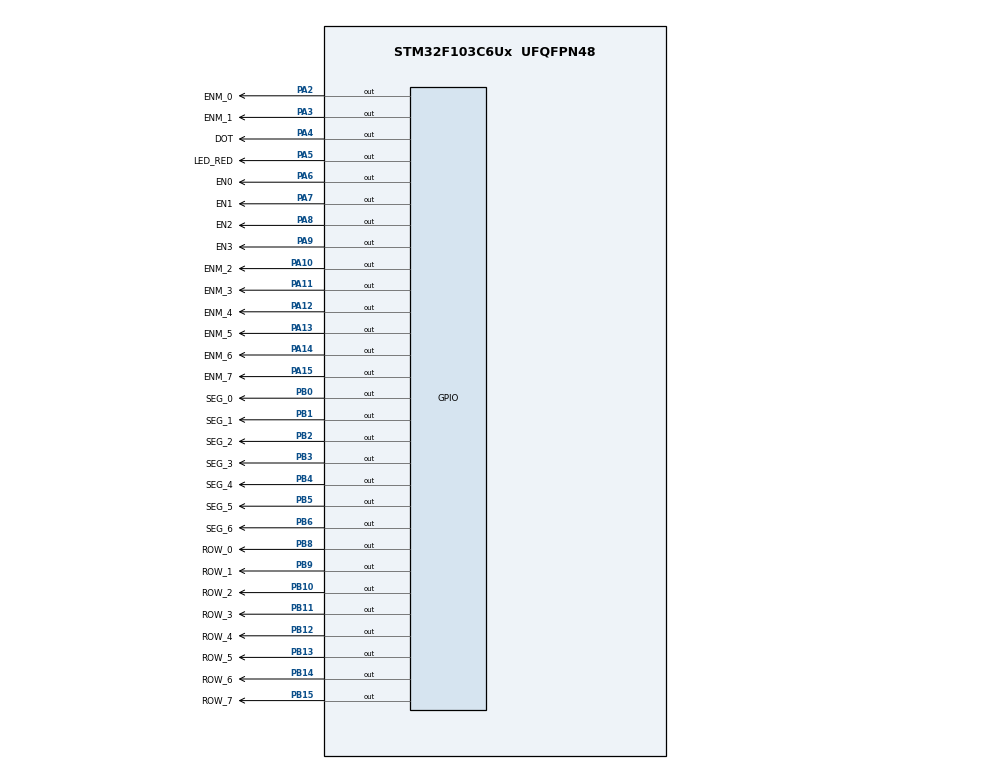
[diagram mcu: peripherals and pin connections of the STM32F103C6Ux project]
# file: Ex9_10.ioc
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Mcu.Family=STM32F1
Mcu.Name=STM32F103C6Ux
Mcu.Package=UFQFPN48
NVIC.PriorityGroup=NVIC_PRIORITYGROUP_4
NVIC.TIM2_IRQn=true\:0\:0\:false\:false\:true\:true\:true
PA10.GPIO_Label=ENM_2
PA10.Signal=GPIO_Output
PA11.GPIO_Label=ENM_3
PA11.Signal=GPIO_Output
PA12.GPIO_Label=ENM_4
PA12.Signal=GPIO_Output
PA13.GPIO_Label=ENM_5
PA13.Signal=GPIO_Output
PA14.GPIO_Label=ENM_6
PA14.Signal=GPIO_Output
PA15.GPIO_Label=ENM_7
PA15.Signal=GPIO_Output
PA2.GPIO_Label=ENM_0
PA2.Signal=GPIO_Output
PA3.GPIO_Label=ENM_1
PA3.Signal=GPIO_Output
PA4.GPIO_Label=DOT
PA4.Signal=GPIO_Output
PA5.GPIO_Label=LED_RED
PA5.Signal=GPIO_Output
PA6.GPIO_Label=EN0
PA6.Signal=GPIO_Output
PA7.GPIO_Label=EN1
PA7.Signal=GPIO_Output
PA8.GPIO_Label=EN2
PA8.Signal=GPIO_Output
PA9.GPIO_Label=EN3
PA9.Signal=GPIO_Output
PB0.GPIO_Label=SEG_0
PB0.Signal=GPIO_Output
PB1.GPIO_Label=SEG_1
PB1.Signal=GPIO_Output
PB10.GPIO_Label=ROW_2
PB10.Signal=GPIO_Output
PB11.GPIO_Label=ROW_3
PB11.Signal=GPIO_Output
PB12.GPIO_Label=ROW_4
PB12.Signal=GPIO_Output
PB13.GPIO_Label=ROW_5
PB13.Signal=GPIO_Output
PB14.GPIO_Label=ROW_6
PB14.Signal=GPIO_Output
PB15.GPIO_Label=ROW_7
PB15.Signal=GPIO_Output
PB2.GPIO_Label=SEG_2
PB2.Signal=GPIO_Output
PB3.GPIO_Label=SEG_3
PB3.Signal=GPIO_Output
PB4.GPIO_Label=SEG_4
PB4.Signal=GPIO_Output
PB5.GPIO_Label=SEG_5
PB5.Signal=GPIO_Output
PB6.GPIO_Label=SEG_6
PB6.Signal=GPIO_Output
PB8.GPIO_Label=ROW_0
PB8.Signal=GPIO_Output
PB9.GPIO_Label=ROW_1
PB9.Signal=GPIO_Output
ProjectManager.HeapSize=0x200
ProjectManager.StackSize=0x400
ProjectManager.TargetToolchain=STM32CubeIDE
RCC.APB1Freq_Value=8000000
RCC.APB2Freq_Value=8000000
TIM2.Period=9
TIM2.Prescaler=7999
VP_SYS_VS_ND.Mode=No_Debug
VP_TIM2_VS_ClockSourceINT.Mode=Internal
board=custom

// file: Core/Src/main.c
/* USER CODE BEGIN Header */
/**
  ******************************************************************************
  * @file           : main.c
  * @brief          : Main program body
  ******************************************************************************
  * @attention
  *
  * <h2><center>&copy; Copyright (c) 2024 STMicroelectronics.
  * All rights reserved.</center></h2>
  *
  * This software component is licensed by ST under BSD 3-Clause license,
  * the "License"; You may not use this file except in compliance with the
  * License. You may obtain a copy of the License at:
  *                        opensource.org/licenses/BSD-3-Clause
  *
  ******************************************************************************
  */
/* USER CODE END Header */
#include "main.h"

TIM_HandleTypeDef htim2;

void SystemClock_Config(void);
static void MX_GPIO_Init(void);
static void MX_TIM2_Init(void);

/* USER CODE BEGIN 0 */
void display7SEG();
void updateClockBuffer();
void update7SEG();
int timer0_counter = 0;
int timer0_flag = 0;
int timer1_counter = 0;
int timer1_flag = 0;
int timer2_counter = 0;
int timer2_flag = 0;
int timer3_counter = 0;
int timer3_flag = 0;
int TIMER_CYCLE = 10;

//-- setTimer0 is used for the blinking Red LED --//
void setTimer0 (int duration)
{
	timer0_counter = duration / TIMER_CYCLE;
	timer0_flag = 0;
}

//-- setTimer1 is used for the Blinking DOT and Time Value Updating --//
void setTimer1 (int duration)
{
	timer1_counter = duration / TIMER_CYCLE;
	timer1_flag = 0;
}

//-- setTimer2 is used for updating the 7SEG --//
void setTimer2 (int duration)
{
	timer2_counter = duration / TIMER_CYCLE;
	timer2_flag = 0;
}

//-- setTimer3 is used for updating the 8x8 matrix LED --//
void setTimer3 (int duration)
{
	timer3_counter = duration / TIMER_CYCLE;
	timer3_flag = 0;
}

void timer_run()
{
	if (timer0_counter > 0)
	{
		timer0_counter--;
		if (timer0_counter <= 0)
		{
			timer0_flag = 1;
		}
	}
	if (timer1_counter > 0)
	{
		timer1_counter--;
		if (timer1_counter <= 0)
		{
			timer1_flag = 1;
		}
	}
	if (timer2_counter > 0)
	{
		timer2_counter--;
		if (timer2_counter <= 0)
		{
			timer2_flag = 1;
		}
	}
	if (timer3_counter > 0)
	{
		timer3_counter--;
		if (timer3_counter <= 0)
		{
			timer3_flag = 1;
		}
	}
}

/* USER CODE END 0 */

int main(void)
{
  /* USER CODE BEGIN 1 */
//	const int MAX_LED_MATRIX = 8;
	int index_led_matrix = 0;
	uint8_t matrix_buffer[8] = {0x00, 0xFC, 0xFE, 0x33, 0x33, 0xFE, 0xFC, 0x00};
	void updateLEDMatrix(int index)
	{
		switch(index)
		{
		case 0:
			HAL_GPIO_WritePin(ENM_0_GPIO_Port, ENM_0_Pin, GPIO_PIN_RESET);
			HAL_GPIO_WritePin(GPIOA, ENM_1_Pin|ENM_2_Pin|ENM_3_Pin|ENM_4_Pin|ENM_5_Pin|ENM_6_Pin|ENM_7_Pin, GPIO_PIN_SET);
			HAL_GPIO_WritePin(GPIOB, 0xff<<8, GPIO_PIN_SET);
			HAL_GPIO_WritePin(GPIOB, matrix_buffer[index]<<8, GPIO_PIN_RESET);
			break;
		case 1:
			HAL_GPIO_WritePin(ENM_1_GPIO_Port, ENM_1_Pin, GPIO_PIN_RESET);
			HAL_GPIO_WritePin(GPIOA, ENM_0_Pin|ENM_2_Pin|ENM_3_Pin|ENM_4_Pin|ENM_5_Pin|ENM_6_Pin|ENM_7_Pin, GPIO_PIN_SET);
			HAL_GPIO_WritePin(GPIOB, 0xff<<8, GPIO_PIN_SET);
			HAL_GPIO_WritePin(GPIOB, matrix_buffer[index]<<8, GPIO_PIN_RESET);
			break;
		case 2:
			HAL_GPIO_WritePin(ENM_2_GPIO_Port, ENM_2_Pin, GPIO_PIN_RESET);
			HAL_GPIO_WritePin(GPIOA, ENM_0_Pin|ENM_1_Pin|ENM_3_Pin|ENM_4_Pin|ENM_5_Pin|ENM_6_Pin|ENM_7_Pin, GPIO_PIN_SET);
			HAL_GPIO_WritePin(GPIOB, 0xff<<8, GPIO_PIN_SET);
			HAL_GPIO_WritePin(GPIOB, matrix_buffer[index]<<8, GPIO_PIN_RESET);
			break;
		case 3:
			HAL_GPIO_WritePin(ENM_3_GPIO_Port, ENM_3_Pin, GPIO_PIN_RESET);
			HAL_GPIO_WritePin(GPIOA, ENM_0_Pin|ENM_1_Pin|ENM_2_Pin|ENM_4_Pin|ENM_5_Pin|ENM_6_Pin|ENM_7_Pin, GPIO_PIN_SET);
			HAL_GPIO_WritePin(GPIOB, 0xff<<8, GPIO_PIN_SET);
			HAL_GPIO_WritePin(GPIOB, matrix_buffer[index]<<8, GPIO_PIN_RESET);
			break;
		case 4:
			HAL_GPIO_WritePin(ENM_4_GPIO_Port, ENM_4_Pin, GPIO_PIN_RESET);
			HAL_GPIO_WritePin(GPIOA, ENM_0_Pin|ENM_1_Pin|ENM_2_Pin|ENM_3_Pin|ENM_5_Pin|ENM_6_Pin|ENM_7_Pin, GPIO_PIN_SET);
			HAL_GPIO_WritePin(GPIOB, 0xff<<8, GPIO_PIN_SET);
			HAL_GPIO_WritePin(GPIOB, matrix_buffer[index]<<8, GPIO_PIN_RESET);
			break;
		case 5:
			HAL_GPIO_WritePin(ENM_5_GPIO_Port, ENM_5_Pin, GPIO_PIN_RESET);
			HAL_GPIO_WritePin(GPIOA, ENM_0_Pin|ENM_1_Pin|ENM_2_Pin|ENM_3_Pin|ENM_4_Pin|ENM_6_Pin|ENM_7_Pin, GPIO_PIN_SET);
			HAL_GPIO_WritePin(GPIOB, 0xff<<8, GPIO_PIN_SET);
			HAL_GPIO_WritePin(GPIOB, matrix_buffer[index]<<8, GPIO_PIN_RESET);
			break;
		case 6:
			HAL_GPIO_WritePin(ENM_6_GPIO_Port, ENM_6_Pin, GPIO_PIN_RESET);
			HAL_GPIO_WritePin(GPIOA, ENM_0_Pin|ENM_1_Pin|ENM_2_Pin|ENM_3_Pin|ENM_4_Pin|ENM_5_Pin|ENM_7_Pin, GPIO_PIN_SET);
			HAL_GPIO_WritePin(GPIOB, 0xff<<8, GPIO_PIN_SET);
			HAL_GPIO_WritePin(GPIOB, matrix_buffer[index]<<8, GPIO_PIN_RESET);
			break;
		case 7:
			HAL_GPIO_WritePin(ENM_7_GPIO_Port, ENM_7_Pin, GPIO_PIN_RESET);
			HAL_GPIO_WritePin(GPIOA, ENM_0_Pin|ENM_1_Pin|ENM_2_Pin|ENM_3_Pin|ENM_4_Pin|ENM_5_Pin|ENM_6_Pin, GPIO_PIN_SET);
			HAL_GPIO_WritePin(GPIOB, 0xff<<8, GPIO_PIN_SET);
			HAL_GPIO_WritePin(GPIOB, matrix_buffer[index]<<8, GPIO_PIN_RESET);
			break;
		default:
			break;
		}
	}

	// Create function to shift every array to the left by 1 column
	void shift_matrix_buffer()
	{
		uint8_t tmp;  // Create 8-bit tmp to store the array
		uint8_t i;	// Create 8-bit i to store the arry
		for(i = 0; i < 8; i++)
		{
			tmp = matrix_buffer[i];	// Store the value of array i to tmp
			matrix_buffer[i] = matrix_buffer[i + 1];	// Assign the value of array i+1 to i
			matrix_buffer[i + 1] = tmp;	// Assign the value of tmp to array i+1
		}
	}

  /* USER CODE END 1 */

  /* MCU Configuration--------------------------------------------------------*/

  /* Reset of all peripherals, Initializes the Flash interface and the Systick. */
  HAL_Init();

  /* Configure the system clock */
  SystemClock_Config();

  /* Initialize all configured peripherals */
  MX_GPIO_Init();
  MX_TIM2_Init();
  /* USER CODE BEGIN 2 */
  HAL_TIM_Base_Start_IT(&htim2);

  /* USER CODE END 2 */

  /* Infinite loop */
  /* USER CODE BEGIN WHILE */
  int hour = 15, minute = 45, second = 30;

  setTimer0(2000);
  setTimer1(1000);
  setTimer2(250);
  setTimer3(100);

  int index_led = 0;
  while (1)
  {
	  if(timer0_flag == 1)
	  {
		  setTimer0(2000);
		  HAL_GPIO_TogglePin(LED_RED_GPIO_Port, LED_RED_Pin);
	  }
	  if(timer1_flag == 1)
	  {
		  setTimer1(1000);
		  second++;
		  if(second >= 60)
		  {
			  minute++;
			  second = 0;
		  }
		  if(minute >= 60)
		  {
			  hour++;
			  minute = 0;
		  }
		  if(hour >= 24)
		  {
			  hour = 0;
		  }
		  HAL_GPIO_TogglePin(DOT_GPIO_Port, DOT_Pin);
		  updateClockBuffer(hour, minute);
	  }
	  if(timer2_flag == 1)
	  {
		  setTimer2(250);
		  update7SEG(index_led++);
		  if(index_led > 3)
		  {
			  index_led = 0;
		  }
	  }
	  if(timer3_flag == 1)
	  {
		  setTimer3(100);
		  updateLEDMatrix(index_led_matrix++);
		  if(index_led_matrix > 8)
		  {
			  index_led_matrix = 0;
			  shift_matrix_buffer();	// Shift the array once the letter A has been fully shown up
		  }
	  }
    /* USER CODE END WHILE */

  }
}

void SystemClock_Config(void)
{
  RCC_OscInitTypeDef RCC_OscInitStruct = {0};
  RCC_ClkInitTypeDef RCC_ClkInitStruct = {0};

  /** Initializes the RCC Oscillators according to the specified parameters
  * in the RCC_OscInitTypeDef structure.
  */
  RCC_OscInitStruct.OscillatorType = RCC_OSCILLATORTYPE_HSI;
  RCC_OscInitStruct.HSIState = RCC_HSI_ON;
  RCC_OscInitStruct.HSICalibrationValue = RCC_HSICALIBRATION_DEFAULT;
  RCC_OscInitStruct.PLL.PLLState = RCC_PLL_NONE;
  if (HAL_RCC_OscConfig(&RCC_OscInitStruct) != HAL_OK)
  {
    Error_Handler();
  }
  /** Initializes the CPU, AHB and APB buses clocks
  */
  RCC_ClkInitStruct.ClockType = RCC_CLOCKTYPE_HCLK|RCC_CLOCKTYPE_SYSCLK
                              |RCC_CLOCKTYPE_PCLK1|RCC_CLOCKTYPE_PCLK2;
  RCC_ClkInitStruct.SYSCLKSource = RCC_SYSCLKSOURCE_HSI;
  RCC_ClkInitStruct.AHBCLKDivider = RCC_SYSCLK_DIV1;
  RCC_ClkInitStruct.APB1CLKDivider = RCC_HCLK_DIV1;
  RCC_ClkInitStruct.APB2CLKDivider = RCC_HCLK_DIV1;

  if (HAL_RCC_ClockConfig(&RCC_ClkInitStruct, FLASH_LATENCY_0) != HAL_OK)
  {
    Error_Handler();
  }
}

static void MX_TIM2_Init(void)
{

  TIM_ClockConfigTypeDef sClockSourceConfig = {0};
  TIM_MasterConfigTypeDef sMasterConfig = {0};

  htim2.Instance = TIM2;
  htim2.Init.Prescaler = 7999;
  htim2.Init.CounterMode = TIM_COUNTERMODE_UP;
  htim2.Init.Period = 9;
  htim2.Init.ClockDivision = TIM_CLOCKDIVISION_DIV1;
  htim2.Init.AutoReloadPreload = TIM_AUTORELOAD_PRELOAD_DISABLE;
  if (HAL_TIM_Base_Init(&htim2) != HAL_OK)
  {
    Error_Handler();
  }
  sClockSourceConfig.ClockSource = TIM_CLOCKSOURCE_INTERNAL;
  if (HAL_TIM_ConfigClockSource(&htim2, &sClockSourceConfig) != HAL_OK)
  {
    Error_Handler();
  }
  sMasterConfig.MasterOutputTrigger = TIM_TRGO_RESET;
  sMasterConfig.MasterSlaveMode = TIM_MASTERSLAVEMODE_DISABLE;
  if (HAL_TIMEx_MasterConfigSynchronization(&htim2, &sMasterConfig) != HAL_OK)
  {
    Error_Handler();
  }

}

static void MX_GPIO_Init(void)
{
  GPIO_InitTypeDef GPIO_InitStruct = {0};

  /* GPIO Ports Clock Enable */
  __HAL_RCC_GPIOA_CLK_ENABLE();
  __HAL_RCC_GPIOB_CLK_ENABLE();

  /*Configure GPIO pin Output Level */
  HAL_GPIO_WritePin(GPIOA, ENM_0_Pin|ENM_1_Pin|DOT_Pin|LED_RED_Pin
                          |EN0_Pin|EN1_Pin|EN2_Pin|EN3_Pin
                          |ENM_2_Pin|ENM_3_Pin|ENM_4_Pin|ENM_5_Pin
                          |ENM_6_Pin|ENM_7_Pin, GPIO_PIN_RESET);

  /*Configure GPIO pin Output Level */
  HAL_GPIO_WritePin(GPIOB, SEG_0_Pin|SEG_1_Pin|SEG_2_Pin|ROW_2_Pin
                          |ROW_3_Pin|ROW_4_Pin|ROW_5_Pin|ROW_6_Pin
                          |ROW_7_Pin|SEG_3_Pin|SEG_4_Pin|SEG_5_Pin
                          |SEG_6_Pin|ROW_0_Pin|ROW_1_Pin, GPIO_PIN_RESET);

  /*Configure GPIO pins : ENM_0_Pin ENM_1_Pin DOT_Pin LED_RED_Pin
                           EN0_Pin EN1_Pin EN2_Pin EN3_Pin
                           ENM_2_Pin ENM_3_Pin ENM_4_Pin ENM_5_Pin
                           ENM_6_Pin ENM_7_Pin */
  GPIO_InitStruct.Pin = ENM_0_Pin|ENM_1_Pin|DOT_Pin|LED_RED_Pin
                          |EN0_Pin|EN1_Pin|EN2_Pin|EN3_Pin
                          |ENM_2_Pin|ENM_3_Pin|ENM_4_Pin|ENM_5_Pin
                          |ENM_6_Pin|ENM_7_Pin;
  GPIO_InitStruct.Mode = GPIO_MODE_OUTPUT_PP;
  GPIO_InitStruct.Pull = GPIO_NOPULL;
  GPIO_InitStruct.Speed = GPIO_SPEED_FREQ_LOW;
  HAL_GPIO_Init(GPIOA, &GPIO_InitStruct);

  /*Configure GPIO pins : SEG_0_Pin SEG_1_Pin SEG_2_Pin ROW_2_Pin
                           ROW_3_Pin ROW_4_Pin ROW_5_Pin ROW_6_Pin
                           ROW_7_Pin SEG_3_Pin SEG_4_Pin SEG_5_Pin
                           SEG_6_Pin ROW_0_Pin ROW_1_Pin */
  GPIO_InitStruct.Pin = SEG_0_Pin|SEG_1_Pin|SEG_2_Pin|ROW_2_Pin
                          |ROW_3_Pin|ROW_4_Pin|ROW_5_Pin|ROW_6_Pin
                          |ROW_7_Pin|SEG_3_Pin|SEG_4_Pin|SEG_5_Pin
                          |SEG_6_Pin|ROW_0_Pin|ROW_1_Pin;
  GPIO_InitStruct.Mode = GPIO_MODE_OUTPUT_PP;
  GPIO_InitStruct.Pull = GPIO_NOPULL;
  GPIO_InitStruct.Speed = GPIO_SPEED_FREQ_LOW;
  HAL_GPIO_Init(GPIOB, &GPIO_InitStruct);

}

/* USER CODE BEGIN 4 */
void display7SEG(int num)
  {
	  if (num == 0)
	  {
		  HAL_GPIO_WritePin(SEG_0_GPIO_Port, SEG_0_Pin, GPIO_PIN_RESET);
		  HAL_GPIO_WritePin(SEG_1_GPIO_Port, SEG_1_Pin, GPIO_PIN_RESET);
		  HAL_GPIO_WritePin(SEG_2_GPIO_Port, SEG_2_Pin, GPIO_PIN_RESET);
		  HAL_GPIO_WritePin(SEG_3_GPIO_Port, SEG_3_Pin, GPIO_PIN_RESET);
		  HAL_GPIO_WritePin(SEG_4_GPIO_Port, SEG_4_Pin, GPIO_PIN_RESET);
		  HAL_GPIO_WritePin(SEG_5_GPIO_Port, SEG_5_Pin, GPIO_PIN_RESET);
		  HAL_GPIO_WritePin(SEG_6_GPIO_Port, SEG_6_Pin, GPIO_PIN_SET);
	  }
	  else if (num == 1)
	  {
		  HAL_GPIO_WritePin(SEG_0_GPIO_Port, SEG_0_Pin, GPIO_PIN_SET);
		  HAL_GPIO_WritePin(SEG_1_GPIO_Port, SEG_1_Pin, GPIO_PIN_RESET);
		  HAL_GPIO_WritePin(SEG_2_GPIO_Port, SEG_2_Pin, GPIO_PIN_RESET);
		  HAL_GPIO_WritePin(SEG_3_GPIO_Port, SEG_3_Pin, GPIO_PIN_SET);
		  HAL_GPIO_WritePin(SEG_4_GPIO_Port, SEG_4_Pin, GPIO_PIN_SET);
		  HAL_GPIO_WritePin(SEG_5_GPIO_Port, SEG_5_Pin, GPIO_PIN_SET);
		  HAL_GPIO_WritePin(SEG_6_GPIO_Port, SEG_6_Pin, GPIO_PIN_SET);
	  }
	  else if (num == 2)
	  {
		  HAL_GPIO_WritePin(SEG_0_GPIO_Port, SEG_0_Pin, GPIO_PIN_RESET);
		  HAL_GPIO_WritePin(SEG_1_GPIO_Port, SEG_1_Pin, GPIO_PIN_RESET);
		  HAL_GPIO_WritePin(SEG_2_GPIO_Port, SEG_2_Pin, GPIO_PIN_SET);
		  HAL_GPIO_WritePin(SEG_3_GPIO_Port, SEG_3_Pin, GPIO_PIN_RESET);
		  HAL_GPIO_WritePin(SEG_4_GPIO_Port, SEG_4_Pin, GPIO_PIN_RESET);
		  HAL_GPIO_WritePin(SEG_5_GPIO_Port, SEG_5_Pin, GPIO_PIN_SET);
		  HAL_GPIO_WritePin(SEG_6_GPIO_Port, SEG_6_Pin, GPIO_PIN_RESET);
	  }
	  else if (num == 3)
	  {
		  HAL_GPIO_WritePin(SEG_0_GPIO_Port, SEG_0_Pin, GPIO_PIN_RESET);
		  HAL_GPIO_WritePin(SEG_1_GPIO_Port, SEG_1_Pin, GPIO_PIN_RESET);
		  HAL_GPIO_WritePin(SEG_2_GPIO_Port, SEG_2_Pin, GPIO_PIN_RESET);
		  HAL_GPIO_WritePin(SEG_3_GPIO_Port, SEG_3_Pin, GPIO_PIN_RESET);
		  HAL_GPIO_WritePin(SEG_4_GPIO_Port, SEG_4_Pin, GPIO_PIN_SET);
		  HAL_GPIO_WritePin(SEG_5_GPIO_Port, SEG_5_Pin, GPIO_PIN_SET);
		  HAL_GPIO_WritePin(SEG_6_GPIO_Port, SEG_6_Pin, GPIO_PIN_RESET);
	  }
	  else if (num == 4)
	  {
		  HAL_GPIO_WritePin(SEG_0_GPIO_Port, SEG_0_Pin, GPIO_PIN_SET);
		  HAL_GPIO_WritePin(SEG_1_GPIO_Port, SEG_1_Pin, GPIO_PIN_RESET);
		  HAL_GPIO_WritePin(SEG_2_GPIO_Port, SEG_2_Pin, GPIO_PIN_RESET);
		  HAL_GPIO_WritePin(SEG_3_GPIO_Port, SEG_3_Pin, GPIO_PIN_SET);
		  HAL_GPIO_WritePin(SEG_4_GPIO_Port, SEG_4_Pin, GPIO_PIN_SET);
		  HAL_GPIO_WritePin(SEG_5_GPIO_Port, SEG_5_Pin, GPIO_PIN_RESET);
		  HAL_GPIO_WritePin(SEG_6_GPIO_Port, SEG_6_Pin, GPIO_PIN_RESET);
	  }
	  else if (num == 5)
	  {
		  HAL_GPIO_WritePin(SEG_0_GPIO_Port, SEG_0_Pin, GPIO_PIN_RESET);
		  HAL_GPIO_WritePin(SEG_1_GPIO_Port, SEG_1_Pin, GPIO_PIN_SET);
		  HAL_GPIO_WritePin(SEG_2_GPIO_Port, SEG_2_Pin, GPIO_PIN_RESET);
		  HAL_GPIO_WritePin(SEG_3_GPIO_Port, SEG_3_Pin, GPIO_PIN_RESET);
		  HAL_GPIO_WritePin(SEG_4_GPIO_Port, SEG_4_Pin, GPIO_PIN_SET);
		  HAL_GPIO_WritePin(SEG_5_GPIO_Port, SEG_5_Pin, GPIO_PIN_RESET);
		  HAL_GPIO_WritePin(SEG_6_GPIO_Port, SEG_6_Pin, GPIO_PIN_RESET);
	  }
	  else if (num == 6)
	  {
		  HAL_GPIO_WritePin(SEG_0_GPIO_Port, SEG_0_Pin, GPIO_PIN_RESET);
		  HAL_GPIO_WritePin(SEG_1_GPIO_Port, SEG_1_Pin, GPIO_PIN_SET);
		  HAL_GPIO_WritePin(SEG_2_GPIO_Port, SEG_2_Pin, GPIO_PIN_RESET);
		  HAL_GPIO_WritePin(SEG_3_GPIO_Port, SEG_3_Pin, GPIO_PIN_RESET);
		  HAL_GPIO_WritePin(SEG_4_GPIO_Port, SEG_4_Pin, GPIO_PIN_RESET);
		  HAL_GPIO_WritePin(SEG_5_GPIO_Port, SEG_5_Pin, GPIO_PIN_RESET);
		  HAL_GPIO_WritePin(SEG_6_GPIO_Port, SEG_6_Pin, GPIO_PIN_RESET);
	  }
	  else if (num == 7)
	  {
		  HAL_GPIO_WritePin(SEG_0_GPIO_Port, SEG_0_Pin, GPIO_PIN_RESET);
		  HAL_GPIO_WritePin(SEG_1_GPIO_Port, SEG_1_Pin, GPIO_PIN_RESET);
		  HAL_GPIO_WritePin(SEG_2_GPIO_Port, SEG_2_Pin, GPIO_PIN_RESET);
		  HAL_GPIO_WritePin(SEG_3_GPIO_Port, SEG_3_Pin, GPIO_PIN_SET);
		  HAL_GPIO_WritePin(SEG_4_GPIO_Port, SEG_4_Pin, GPIO_PIN_SET);
		  HAL_GPIO_WritePin(SEG_5_GPIO_Port, SEG_5_Pin, GPIO_PIN_SET);
		  HAL_GPIO_WritePin(SEG_6_GPIO_Port, SEG_6_Pin, GPIO_PIN_SET);
	  }
	  else if (num == 8)
	  {
		  HAL_GPIO_WritePin(SEG_0_GPIO_Port, SEG_0_Pin, GPIO_PIN_RESET);
		  HAL_GPIO_WritePin(SEG_1_GPIO_Port, SEG_1_Pin, GPIO_PIN_RESET);
		  HAL_GPIO_WritePin(SEG_2_GPIO_Port, SEG_2_Pin, GPIO_PIN_RESET);
		  HAL_GPIO_WritePin(SEG_3_GPIO_Port, SEG_3_Pin, GPIO_PIN_RESET);
		  HAL_GPIO_WritePin(SEG_4_GPIO_Port, SEG_4_Pin, GPIO_PIN_RESET);
		  HAL_GPIO_WritePin(SEG_5_GPIO_Port, SEG_5_Pin, GPIO_PIN_RESET);
		  HAL_GPIO_WritePin(SEG_6_GPIO_Port, SEG_6_Pin, GPIO_PIN_RESET);
	  }
	  else if (num == 9)
	  {
		  HAL_GPIO_WritePin(SEG_0_GPIO_Port, SEG_0_Pin, GPIO_PIN_RESET);
		  HAL_GPIO_WritePin(SEG_1_GPIO_Port, SEG_1_Pin, GPIO_PIN_RESET);
		  HAL_GPIO_WritePin(SEG_2_GPIO_Port, SEG_2_Pin, GPIO_PIN_RESET);
		  HAL_GPIO_WritePin(SEG_3_GPIO_Port, SEG_3_Pin, GPIO_PIN_RESET);
		  HAL_GPIO_WritePin(SEG_4_GPIO_Port, SEG_4_Pin, GPIO_PIN_SET);
		  HAL_GPIO_WritePin(SEG_5_GPIO_Port, SEG_5_Pin, GPIO_PIN_RESET);
		  HAL_GPIO_WritePin(SEG_6_GPIO_Port, SEG_6_Pin, GPIO_PIN_RESET);
	  }
  }

int led_buffer[4] = {0, 0, 0, 0};
void updateClockBuffer(int hour, int minute)
{
	if (minute <= 9)
	{
		led_buffer[2] = 0;
		led_buffer[3] = minute;
	}
	if (minute >= 10)
	{
		led_buffer[2] = minute / 10;
		led_buffer[3] = minute % 10;
	}
	if (hour <= 9)
	{
		led_buffer[0] = 0;
		led_buffer[1] = hour;
	}
	if (hour >= 10)
	{
		led_buffer[0] = hour / 10;
		led_buffer[1] = hour % 10;
	}
}

const int MAX_LED = 4;
int index_led = 0;
void update7SEG(int index)
{
	switch (index)
	{
	case 0:
		HAL_GPIO_WritePin(EN0_GPIO_Port, EN0_Pin, GPIO_PIN_RESET);
		HAL_GPIO_WritePin(EN1_GPIO_Port, EN1_Pin, GPIO_PIN_SET);
		HAL_GPIO_WritePin(EN2_GPIO_Port, EN2_Pin, GPIO_PIN_SET);
		HAL_GPIO_WritePin(EN3_GPIO_Port, EN3_Pin, GPIO_PIN_SET);
		display7SEG(led_buffer[0]);
		break;
	case 1:
		HAL_GPIO_WritePin(EN0_GPIO_Port, EN0_Pin, GPIO_PIN_SET);
		HAL_GPIO_WritePin(EN1_GPIO_Port, EN1_Pin, GPIO_PIN_RESET);
		HAL_GPIO_WritePin(EN2_GPIO_Port, EN2_Pin, GPIO_PIN_SET);
		HAL_GPIO_WritePin(EN3_GPIO_Port, EN3_Pin, GPIO_PIN_SET);
		display7SEG(led_buffer[1]);
		break;
	case 2:
		HAL_GPIO_WritePin(EN0_GPIO_Port, EN0_Pin, GPIO_PIN_SET);
		HAL_GPIO_WritePin(EN1_GPIO_Port, EN1_Pin, GPIO_PIN_SET);
		HAL_GPIO_WritePin(EN2_GPIO_Port, EN2_Pin, GPIO_PIN_RESET);
		HAL_GPIO_WritePin(EN3_GPIO_Port, EN3_Pin, GPIO_PIN_SET);
		display7SEG(led_buffer[2]);
		break;
	case 3:
		HAL_GPIO_WritePin(EN0_GPIO_Port, EN0_Pin, GPIO_PIN_SET);
		HAL_GPIO_WritePin(EN1_GPIO_Port, EN1_Pin, GPIO_PIN_SET);
		HAL_GPIO_WritePin(EN2_GPIO_Port, EN2_Pin, GPIO_PIN_SET);
		HAL_GPIO_WritePin(EN3_GPIO_Port, EN3_Pin, GPIO_PIN_RESET);
		display7SEG(led_buffer[3]);
		break;
	default:
		break;
	}
}

void HAL_TIM_PeriodElapsedCallback(TIM_HandleTypeDef *htim)
{
	timer_run();
}

/* USER CODE END 4 */

void Error_Handler(void)
{
  __disable_irq();
  while (1)
  {
  }
}

/************************ (C) COPYRIGHT STMicroelectronics *****END OF FILE****/
